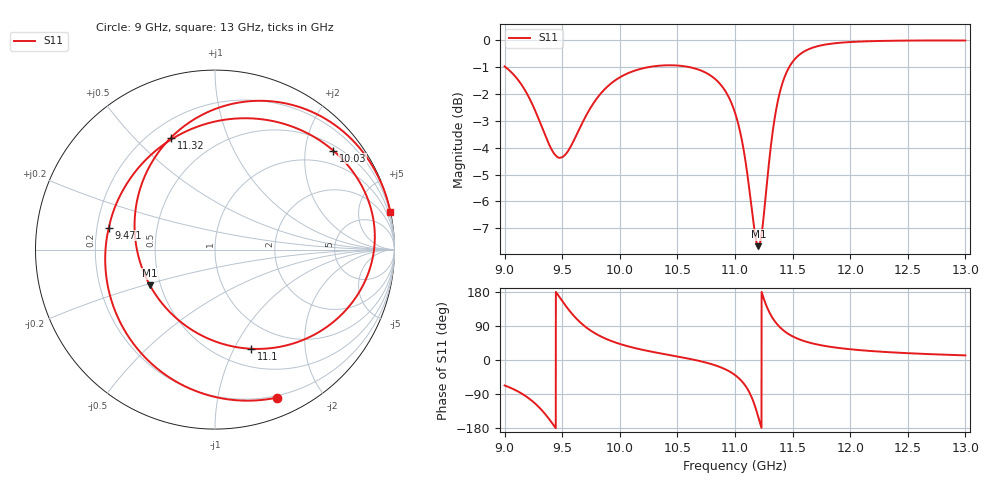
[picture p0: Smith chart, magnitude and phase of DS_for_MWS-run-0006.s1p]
! TOUCHSTONE file generated by CST DESIGN STUDIO
! Date and time: Tue Feb  4 14:30:07 2025
! Project name: C:\Work\MatlabApps\UnitCellOptimizationMatlab\CST\unitcell.cst
! Tree item: Tasks\Sweep1\SPara1\S-Parameters
! Header version: 2024
! Port assignment regex: !\s*Touchstone port\s*([0-9]+)\s*=\s*(CST MWS port|CST DES external port|CST DES block port)\s*(.+)\s* \(\"(.*)\"\)(\s*mode\s*([0-9]+))?.*
! Touchstone port assignment:
! Touchstone port 1 = CST DES external port 1 ("")
# GHz S MA R 50
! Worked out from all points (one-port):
!   4001 points, 9 GHz to 13 GHz, reference 50 ohm
!   lowest |S11| = -7.7 dB at 11.2 GHz (marker M1), VSWR 2.41, Z = 21.9 - j10.5 ohm
!   |S11| at or under -10 dB: nowhere
!   S11 on the Smith chart (normalised r, x): 9 GHz: 0.18, -1.49; 9.471 GHz: 0.25, +0.10; 10.03 GHz: 0.62, +2.63; 11.1 GHz: 0.69, -1.17; 11.32 GHz: 0.28, +0.64; 13 GHz: 0.03, +9.35
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9  0.8943 -67.2
9.144  0.8284 -87.8
9.251  0.7516 -111.1
9.375  0.6475 -151.3
9.471  0.6043 168.3
9.5  0.606 155.7
9.596  0.6476 118.2
9.694  0.715 89.5
9.84  0.7984 61.5
10  0.8531 42.4
10.027  0.8595 39.9
10.237  0.8904 24.3
10.5  0.8975 9.2
10.815  0.8515 -12.7
10.918  0.8032 -24.8
11  0.7331 -39.7
11.095  0.5878 -70.0
11.151  0.4731 -103.0
11.203  0.4136 -151.1
11.26  0.4962 153.0
11.325  0.6705 111.5
11.397  0.8118 84.4
11.5  0.9118 62.4
11.586  0.9492 51.4
11.691  0.9716 42.5
12  0.9928 28.4
12.5  0.999 18.0
13  0.9993 12.2
